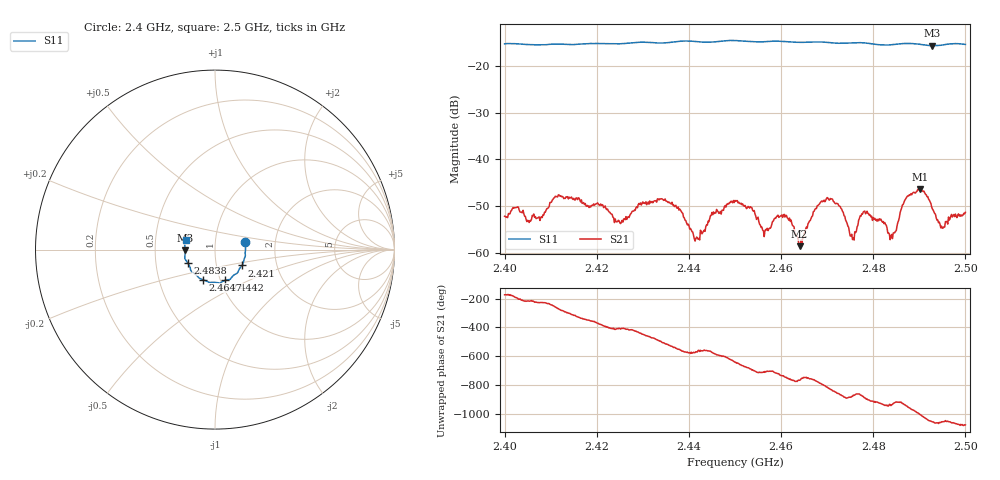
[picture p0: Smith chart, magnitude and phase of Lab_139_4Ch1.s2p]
# Hz S RI R 50
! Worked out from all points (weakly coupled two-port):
!   601 points, 2.4 GHz to 2.5 GHz, reference 50 ohm
!   highest |S21| = -46.32 dB at 2.4902 GHz (marker M1); lowest = -58.6 dB at 2.464 GHz (marker M2)
!   lowest |S11| = -15.6 dB at 2.4928 GHz (marker M3), VSWR 1.40, Z = 35.8 - j0.365 ohm
!   |S11| at or under -10 dB: start of sweep to end of sweep
!   S12 and S22 are empty: the file has one direction only
!   S11 on the Smith chart (normalised r, x): 2.4 GHz: 1.40, +0.12; 2.421 GHz: 1.33, -0.24; 2.4442 GHz: 1.05, -0.37; 2.4647 GHz: 0.83, -0.29; 2.4838 GHz: 0.73, -0.11; 2.5 GHz: 0.72, +0.08
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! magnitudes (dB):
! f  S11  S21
! 2.4 GHz  -15.2  -52.2
! 2.4167 GHz  -15.3  -48.7
! 2.421 GHz  -15.2  -49.8
! 2.4248 GHz  -15.2  -53.1
! 2.4333 GHz  -15.0  -48.5
! 2.4417 GHz  -14.7  -56.6
! 2.4442 GHz  -14.9  -53.2
! 2.45 GHz  -14.5  -48.8
! 2.4563 GHz  -14.8  -56.5
! 2.461 GHz  -14.7  -52.0
! 2.464 GHz  -14.9  -58.6
! 2.4647 GHz  -14.9  -56.9
! 2.4667 GHz  -14.8  -52.2
! 2.4705 GHz  -14.9  -48.7
! 2.4753 GHz  -15.0  -56.0
! 2.4783 GHz  -15.1  -51.6
! 2.4833 GHz  -15.5  -55.7
! 2.4838 GHz  -15.4  -56.4
! 2.4902 GHz  -15.3  -46.3
! 2.4928 GHz  -15.6  -50.6
! 2.495 GHz  -15.5  -54.7
! 2.5 GHz  -15.3  -51.3
